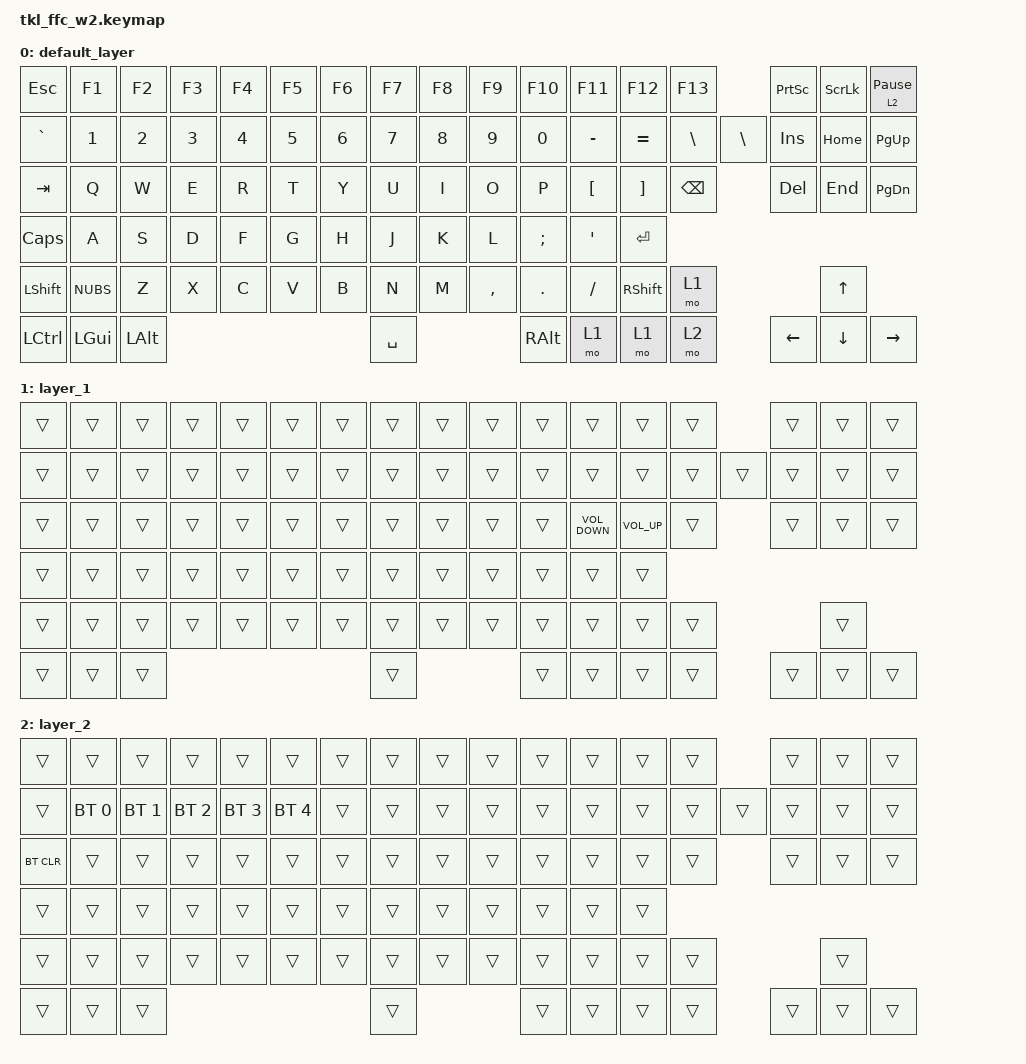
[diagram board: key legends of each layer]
/*
 * Copyright (c) 2022 The ZMK Contributors
 *
 * SPDX-License-Identifier: MIT
 */

#include <behaviors.dtsi>
#include <dt-bindings/zmk/bt.h>
#include <dt-bindings/zmk/keys.h>

/ {
    keymap {
        compatible = "zmk,keymap";

        default_layer {
            bindings = <
&kp ESCAPE  &kp F1    &kp F2    &kp F3  &kp F4  &kp F5  &kp F6  &kp F7     &kp F8  &kp F9     &kp F10   &kp F11    &kp F12    &kp F13                       &kp PSCRN  &kp SLCK  &lt 2 PAUSE_BREAK
&kp GRAVE   &kp N1    &kp N2    &kp N3  &kp N4  &kp N5  &kp N6  &kp N7     &kp N8  &kp N9     &kp N0    &kp MINUS  &kp EQUAL  &kp BACKSLASH  &kp BACKSLASH  &kp INS    &kp HOME  &kp PG_UP
&kp TAB     &kp Q     &kp W     &kp E   &kp R   &kp T   &kp Y   &kp U      &kp I   &kp O      &kp P     &kp LBKT   &kp RBKT   &kp BACKSPACE                 &kp DEL    &kp END   &kp PG_DN
&kp CAPS    &kp A     &kp S     &kp D   &kp F   &kp G   &kp H   &kp J      &kp K   &kp L      &kp SEMI  &kp SQT    &kp ENTER
&kp LSHFT   &kp NUBS  &kp Z     &kp X   &kp C   &kp V   &kp B   &kp N      &kp M   &kp COMMA  &kp DOT   &kp SLASH  &kp RSHFT  &mo 1                                    &kp UP
&kp LCTRL   &kp LGUI  &kp LALT                                  &kp SPACE                     &kp RALT  &mo 1      &mo 1      &mo 2                         &kp LEFT   &kp DOWN  &kp RIGHT
            >;
        };

        layer_1 {
            bindings = <
&trans  &trans  &trans  &trans  &trans  &trans  &trans  &trans  &trans  &trans  &trans  &trans             &trans           &trans          &trans  &trans  &trans
&trans  &trans  &trans  &trans  &trans  &trans  &trans  &trans  &trans  &trans  &trans  &trans             &trans           &trans  &trans  &trans  &trans  &trans
&trans  &trans  &trans  &trans  &trans  &trans  &trans  &trans  &trans  &trans  &trans  &kp C_VOLUME_DOWN  &kp C_VOLUME_UP  &trans          &trans  &trans  &trans
&trans  &trans  &trans  &trans  &trans  &trans  &trans  &trans  &trans  &trans  &trans  &trans             &trans
&trans  &trans  &trans  &trans  &trans  &trans  &trans  &trans  &trans  &trans  &trans  &trans             &trans           &trans                  &trans
&trans  &trans  &trans                                  &trans                  &trans  &trans             &trans           &trans          &trans  &trans  &trans
            >;
        };

        layer_2 {
            bindings = <
&trans      &trans        &trans        &trans        &trans        &trans        &trans  &trans  &trans  &trans  &trans  &trans  &trans  &trans          &trans  &trans  &trans
&trans      &bt BT_SEL 0  &bt BT_SEL 1  &bt BT_SEL 2  &bt BT_SEL 3  &bt BT_SEL 4  &trans  &trans  &trans  &trans  &trans  &trans  &trans  &trans  &trans  &trans  &trans  &trans
&bt BT_CLR  &trans        &trans        &trans        &trans        &trans        &trans  &trans  &trans  &trans  &trans  &trans  &trans  &trans          &trans  &trans  &trans
&trans      &trans        &trans        &trans        &trans        &trans        &trans  &trans  &trans  &trans  &trans  &trans  &trans
&trans      &trans        &trans        &trans        &trans        &trans        &trans  &trans  &trans  &trans  &trans  &trans  &trans  &trans                  &trans
&trans      &trans        &trans                                                          &trans                  &trans  &trans  &trans  &trans          &trans  &trans  &trans
            >;
        };
    };

    conditional_layers { compatible = "zmk,conditional-layers"; };
};
